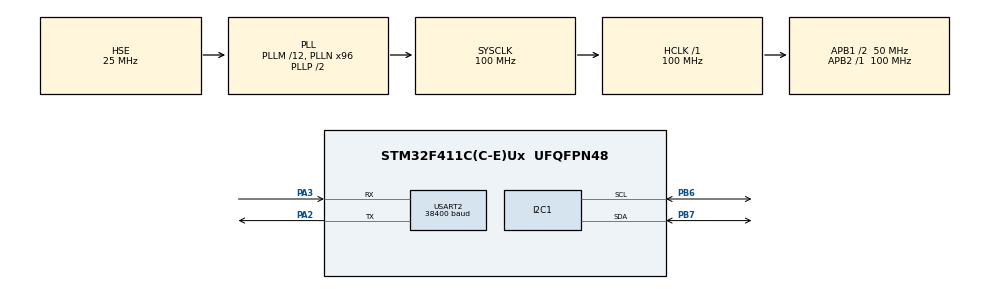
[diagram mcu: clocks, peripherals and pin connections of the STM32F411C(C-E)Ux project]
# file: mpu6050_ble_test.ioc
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I2C1.I2C_Mode=I2C_Fast
Mcu.Family=STM32F4
Mcu.Name=STM32F411C(C-E)Ux
Mcu.Package=UFQFPN48
NVIC.PriorityGroup=NVIC_PRIORITYGROUP_4
PA2.Mode=Asynchronous
PA2.Signal=USART2_TX
PA3.Mode=Asynchronous
PA3.Signal=USART2_RX
PB6.Mode=I2C
PB6.Signal=I2C1_SCL
PB7.Mode=I2C
PB7.Signal=I2C1_SDA
PH0\ -\ OSC_IN.Mode=HSE-External-Oscillator
PH0\ -\ OSC_IN.Signal=RCC_OSC_IN
PH1\ -\ OSC_OUT.Mode=HSE-External-Oscillator
PH1\ -\ OSC_OUT.Signal=RCC_OSC_OUT
ProjectManager.HeapSize=0x200
ProjectManager.StackSize=0x400
ProjectManager.TargetToolchain=STM32CubeIDE
RCC.48MHZClocksFreq_Value=50000000
RCC.AHBFreq_Value=100000000
RCC.APB1CLKDivider=RCC_HCLK_DIV2
RCC.APB1Freq_Value=50000000
RCC.APB1TimFreq_Value=100000000
RCC.APB2Freq_Value=100000000
RCC.APB2TimFreq_Value=100000000
RCC.CortexFreq_Value=100000000
RCC.HCLKFreq_Value=100000000
RCC.HSE_VALUE=25000000
RCC.HSI_VALUE=16000000
RCC.LSE_VALUE=32768
RCC.PLLM=12
RCC.PLLN=96
RCC.PLLSourceVirtual=RCC_PLLSOURCE_HSE
RCC.SYSCLKFreq_VALUE=100000000
RCC.SYSCLKSource=RCC_SYSCLKSOURCE_PLLCLK
RCC.VCOOutputFreq_Value=200000000
USART2.BaudRate=38400
USART2.VirtualMode=VM_ASYNC
board=custom

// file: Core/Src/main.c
/* USER CODE BEGIN Header */
/**
  ******************************************************************************
  * @file           : main.c
  * @brief          : Main program body
  ******************************************************************************
  * @attention
  *
  * Copyright (c) 2023 STMicroelectronics.
  * All rights reserved.
  *
  * This software is licensed under terms that can be found in the LICENSE file
  * in the root directory of this software component.
  * If no LICENSE file comes with this software, it is provided AS-IS.
  *
  ******************************************************************************
  */
/* USER CODE END Header */
#include "main.h"

/* USER CODE BEGIN Includes */
#include <stdio.h>
#include <string.h>
/* USER CODE END Includes */

/* USER CODE BEGIN PTD */
enum AFS_SEL {
	g2 = 	0x00, // +-2g
	g4 = 	0x01, // +-4g
	g8 = 	0x02, // +-8g
	g16 = 	0x03, // +-16g
};

enum FS_SEL {
	w250 = 		0x00, // +-250 deg/s
	w500 = 		0x01, // +-500 deg/s
	w1000 = 	0x02, // +-1000 deg/s
	w2000 = 	0x03, // +-2000 deg/s
};

typedef struct MPU6050_RawIMUDataSet {
	int16_t 	XOUT_na;
	int16_t  	YOUT_na;
	int16_t 	ZOUT_na;
} MPU6050_RawIMUDataSet_t;

typedef struct MPU6050_AccelDataSet {
	float 		XOUT_g;
	float 		YOUT_g;
	float		ZOUT_g;
} MPU6050_AccelDataSet_t;

typedef struct MPU6050_GyroDataSet {
	float 		XOUT_dps;
	float 		YOUT_dps;
	float		ZOUT_dps;
} MPU6050_GyroDataSet_t;
/* USER CODE END PTD */

/* USER CODE BEGIN PD */
/* Device Addresses */
#define MPU6050_ADDR1 0xD0
#define MPU6050_ADDR2 0xD2
/* Memory registers */
#define PWR_MGMT1_REG 0x6B
#define SMPRT_DIV_REG 0x19
#define GYRO_CONFIG_REG 0x1B
#define GYRO_OUT_START_REG 0x43
#define ACCEL_CONFIG_REG 0x1C
#define ACCEL_OUT_START_REG 0x3B
#define CONFIG_REG 0x1A
/* I2C Data */
#define REG_LEN 0x01
#define I2C_TIMEOUT 50
#define CLKSEL 0x00
#define SMPLRT_DIV 0x01 // Sample Rate [kHz] = 8 / (1 + SMPLRT_DIV)
#define DLPF_CFG 0x04
/* USER CODE END PD */

I2C_HandleTypeDef hi2c1;

UART_HandleTypeDef huart2;

/* USER CODE BEGIN PV */
const enum AFS_SEL accelRange = g4;
const enum FS_SEL gyroRange = w500;
/* USER CODE END PV */

void SystemClock_Config(void);
static void MX_GPIO_Init(void);
static void MX_I2C1_Init(void);
static void MX_USART2_UART_Init(void);
/* USER CODE BEGIN PFP */
void MPU6050_Init(void);

float getAccelSens(const enum AFS_SEL accelRange);
float getGyroSens(const enum FS_SEL gyroRange);
void HC05_PrintIMUData(const MPU6050_AccelDataSet_t Accel1, const MPU6050_AccelDataSet_t Accel2, const MPU6050_GyroDataSet_t Gyro1, const MPU6050_GyroDataSet_t Gyro2);

MPU6050_AccelDataSet_t MPU6050_GetAccel(const uint8_t deviceAddr);
MPU6050_GyroDataSet_t MPU6050_GetGyro(const uint8_t deviceAddr);
MPU6050_RawIMUDataSet_t MPU6050_GetRawAccel(const uint8_t deviceAddr);
MPU6050_RawIMUDataSet_t MPU6050_GetRawGyro(const uint8_t deviceAddr);

/* USER CODE END PFP */

int main(void)
{

  /* MCU Configuration--------------------------------------------------------*/

  /* Reset of all peripherals, Initializes the Flash interface and the Systick. */
  HAL_Init();

  /* Configure the system clock */
  SystemClock_Config();

  /* Initialize all configured peripherals */
  MX_GPIO_Init();
  MX_I2C1_Init();
  MX_USART2_UART_Init();
  /* USER CODE BEGIN 2 */
  MPU6050_AccelDataSet_t Accel1;
  MPU6050_AccelDataSet_t Accel2;
  MPU6050_GyroDataSet_t Gyro1;
  MPU6050_GyroDataSet_t Gyro2;

  MPU6050_Init();
  HAL_Delay(10);

  /* USER CODE END 2 */

  /* Infinite loop */
  /* USER CODE BEGIN WHILE */
  while (1)
  {
	  Accel1 = MPU6050_GetAccel(MPU6050_ADDR1);
	  Gyro1 = MPU6050_GetGyro(MPU6050_ADDR1);

	  Accel2 = MPU6050_GetAccel(MPU6050_ADDR2);
	  Gyro2 = MPU6050_GetGyro(MPU6050_ADDR2);

	  HC05_PrintIMUData(Accel1, Accel2, Gyro1, Gyro2);
	  HAL_Delay(10);

    /* USER CODE END WHILE */

  }
}

void SystemClock_Config(void)
{
  RCC_OscInitTypeDef RCC_OscInitStruct = {0};
  RCC_ClkInitTypeDef RCC_ClkInitStruct = {0};

  /** Configure the main internal regulator output voltage
  */
  __HAL_RCC_PWR_CLK_ENABLE();
  __HAL_PWR_VOLTAGESCALING_CONFIG(PWR_REGULATOR_VOLTAGE_SCALE1);

  /** Initializes the RCC Oscillators according to the specified parameters
  * in the RCC_OscInitTypeDef structure.
  */
  RCC_OscInitStruct.OscillatorType = RCC_OSCILLATORTYPE_HSE;
  RCC_OscInitStruct.HSEState = RCC_HSE_ON;
  RCC_OscInitStruct.PLL.PLLState = RCC_PLL_ON;
  RCC_OscInitStruct.PLL.PLLSource = RCC_PLLSOURCE_HSE;
  RCC_OscInitStruct.PLL.PLLM = 12;
  RCC_OscInitStruct.PLL.PLLN = 96;
  RCC_OscInitStruct.PLL.PLLP = RCC_PLLP_DIV2;
  RCC_OscInitStruct.PLL.PLLQ = 4;
  if (HAL_RCC_OscConfig(&RCC_OscInitStruct) != HAL_OK)
  {
    Error_Handler();
  }

  /** Initializes the CPU, AHB and APB buses clocks
  */
  RCC_ClkInitStruct.ClockType = RCC_CLOCKTYPE_HCLK|RCC_CLOCKTYPE_SYSCLK
                              |RCC_CLOCKTYPE_PCLK1|RCC_CLOCKTYPE_PCLK2;
  RCC_ClkInitStruct.SYSCLKSource = RCC_SYSCLKSOURCE_PLLCLK;
  RCC_ClkInitStruct.AHBCLKDivider = RCC_SYSCLK_DIV1;
  RCC_ClkInitStruct.APB1CLKDivider = RCC_HCLK_DIV2;
  RCC_ClkInitStruct.APB2CLKDivider = RCC_HCLK_DIV1;

  if (HAL_RCC_ClockConfig(&RCC_ClkInitStruct, FLASH_LATENCY_3) != HAL_OK)
  {
    Error_Handler();
  }
}

static void MX_I2C1_Init(void)
{

  hi2c1.Instance = I2C1;
  hi2c1.Init.ClockSpeed = 400000;
  hi2c1.Init.DutyCycle = I2C_DUTYCYCLE_2;
  hi2c1.Init.OwnAddress1 = 0;
  hi2c1.Init.AddressingMode = I2C_ADDRESSINGMODE_7BIT;
  hi2c1.Init.DualAddressMode = I2C_DUALADDRESS_DISABLE;
  hi2c1.Init.OwnAddress2 = 0;
  hi2c1.Init.GeneralCallMode = I2C_GENERALCALL_DISABLE;
  hi2c1.Init.NoStretchMode = I2C_NOSTRETCH_DISABLE;
  if (HAL_I2C_Init(&hi2c1) != HAL_OK)
  {
    Error_Handler();
  }

}

static void MX_USART2_UART_Init(void)
{

  huart2.Instance = USART2;
  huart2.Init.BaudRate = 38400;
  huart2.Init.WordLength = UART_WORDLENGTH_8B;
  huart2.Init.StopBits = UART_STOPBITS_1;
  huart2.Init.Parity = UART_PARITY_NONE;
  huart2.Init.Mode = UART_MODE_TX_RX;
  huart2.Init.HwFlowCtl = UART_HWCONTROL_NONE;
  huart2.Init.OverSampling = UART_OVERSAMPLING_16;
  if (HAL_UART_Init(&huart2) != HAL_OK)
  {
    Error_Handler();
  }

}

static void MX_GPIO_Init(void)
{

  /* GPIO Ports Clock Enable */
  __HAL_RCC_GPIOH_CLK_ENABLE();
  __HAL_RCC_GPIOA_CLK_ENABLE();
  __HAL_RCC_GPIOB_CLK_ENABLE();

}

/* USER CODE BEGIN 4 */
void MPU6050_Init(void){
	uint8_t const msgLen = 30;
	uint8_t msg[30];
	uint8_t regData;
	uint8_t numReg = 1;

	/* I2C device check */
	HAL_StatusTypeDef deviceCheck1 = HAL_I2C_IsDeviceReady(&hi2c1, MPU6050_ADDR1, 1, I2C_TIMEOUT);
	HAL_StatusTypeDef deviceCheck2 = HAL_I2C_IsDeviceReady(&hi2c1, MPU6050_ADDR2, 1, I2C_TIMEOUT);

	/* Clear string */
	memset(msg, '\0', msgLen);

	/* Check status */
	if((deviceCheck1 == HAL_OK) && (deviceCheck2== HAL_OK)){
		strcpy((char*) msg, "Devices Ready\n\r");
	} else {
		strcpy((char*) msg, "Devices Not Ready\n\r");
	}

	/* Report status */
	HAL_UART_Transmit(&huart2, msg, sizeof(msg), 50);

	/* Wake IMUs */
	regData = CLKSEL;
	HAL_I2C_Mem_Write(&hi2c1, MPU6050_ADDR1, PWR_MGMT1_REG, REG_LEN, &regData, numReg, I2C_TIMEOUT);
	HAL_I2C_Mem_Write(&hi2c1, MPU6050_ADDR2, PWR_MGMT1_REG, REG_LEN, &regData, numReg, I2C_TIMEOUT);

	/* Calculate SMPLRT_DIV from desired sample rate */
	regData = SMPLRT_DIV;
	HAL_I2C_Mem_Write(&hi2c1, MPU6050_ADDR1, SMPRT_DIV_REG, REG_LEN, &regData, numReg, I2C_TIMEOUT);
	HAL_I2C_Mem_Write(&hi2c1, MPU6050_ADDR2, SMPRT_DIV_REG, REG_LEN, &regData, numReg, I2C_TIMEOUT);

	/* Set gyro config */
	regData = (uint8_t) (gyroRange << 3);
	HAL_I2C_Mem_Write(&hi2c1, MPU6050_ADDR1, GYRO_CONFIG_REG, REG_LEN, &regData, numReg, I2C_TIMEOUT);
	HAL_I2C_Mem_Write(&hi2c1, MPU6050_ADDR2, GYRO_CONFIG_REG, REG_LEN, &regData, numReg, I2C_TIMEOUT);

	/* Set accel config */
	regData = (uint8_t) (accelRange << 3);
	HAL_I2C_Mem_Write(&hi2c1, MPU6050_ADDR1, ACCEL_CONFIG_REG, REG_LEN, &regData, numReg, I2C_TIMEOUT);
	HAL_I2C_Mem_Write(&hi2c1, MPU6050_ADDR2, ACCEL_CONFIG_REG, REG_LEN, &regData, numReg, I2C_TIMEOUT);

	regData = (uint8_t) (DLPF_CFG);
	HAL_I2C_Mem_Write(&hi2c1, MPU6050_ADDR2, CONFIG_REG, REG_LEN, &regData, numReg, I2C_TIMEOUT);
}

float getAccelSens(const enum AFS_SEL accelRange){
	float sensitivity;

	/* Determine sensor sensitivity based on sensor range */
	switch (accelRange){
	case g2:
		sensitivity = 16384.0;
		break;
	case g4:
		sensitivity = 8192.0;
		break;
	case g8:
		sensitivity = 4096.0;
		break;
	case g16:
		sensitivity = 2048.0;
		break;
	default:
		sensitivity = 0; // Create error code here later
	}

	return sensitivity;
}

float getGyroSens(const enum FS_SEL gyroRange){
	float sensitivity;

	/* Determine sensor sensitivity based on sensor range */
	switch (gyroRange){
	case w250:
		sensitivity = 131.0;
		break;
	case w500:
		sensitivity = 65.5;
		break;
	case w1000:
		sensitivity = 32.8;
		break;
	case w2000:
		sensitivity = 16.4;
		break;
	default:
		sensitivity = 0; // Create error code here later
	}

	return sensitivity;
}

MPU6050_RawIMUDataSet_t MPU6050_GetRawAccel(const uint8_t deviceAddr){
	uint8_t	numReg = 6;
	uint8_t regData[numReg];
	MPU6050_RawIMUDataSet_t RawAccel;

	/* Read accel measurement registers and store in regData array */
	HAL_I2C_Mem_Read(&hi2c1, deviceAddr, ACCEL_OUT_START_REG, REG_LEN, (uint8_t*) &regData, numReg, I2C_TIMEOUT);

	/* Combine high and low bits to 16 bit integer, update struct contents*/
	RawAccel.XOUT_na = (int16_t) ((regData[0] << 8) | (regData[1]));
	RawAccel.YOUT_na = (int16_t) ((regData[2] << 8) | (regData[3]));
	RawAccel.ZOUT_na = (int16_t) ((regData[4] << 8) | (regData[5]));

	/* Return RawAccel struct*/
	return RawAccel;
}

MPU6050_RawIMUDataSet_t MPU6050_GetRawGyro(const uint8_t deviceAddr){
	uint8_t	numReg = 6;
	uint8_t regData[numReg];
	MPU6050_RawIMUDataSet_t RawGyro;

	/* Read gyro measurement registers and store in regData array */
	HAL_I2C_Mem_Read(&hi2c1, deviceAddr, GYRO_OUT_START_REG, REG_LEN, (uint8_t*) &regData, numReg, I2C_TIMEOUT);

	/* Combine high and low bits to 16 bit integer, update struct contents*/
	RawGyro.XOUT_na = (int16_t) ((regData[0] << 8) | (regData[1]));
	RawGyro.YOUT_na = (int16_t) ((regData[2] << 8) | (regData[3]));
	RawGyro.ZOUT_na = (int16_t) ((regData[4] << 8) | (regData[5]));

	/* Return RawGyro struct*/
	return RawGyro;
}

MPU6050_AccelDataSet_t MPU6050_GetAccel(const uint8_t deviceAddr){
	MPU6050_RawIMUDataSet_t RawAccel;
	MPU6050_AccelDataSet_t Accel;
	float sensitivity;

	sensitivity = getAccelSens(accelRange);
	RawAccel = MPU6050_GetRawAccel(deviceAddr);

	/* Convert bits to g's, store in Accel struct*/
	Accel.XOUT_g = RawAccel.XOUT_na / sensitivity;
	Accel.YOUT_g = RawAccel.YOUT_na / sensitivity;
	Accel.ZOUT_g = RawAccel.ZOUT_na / sensitivity;

	/* Return Accel struct */
	return Accel;
}

MPU6050_GyroDataSet_t MPU6050_GetGyro(const uint8_t deviceAddr){
	MPU6050_RawIMUDataSet_t RawGyro;
	MPU6050_GyroDataSet_t Gyro;
	float sensitivity;

	sensitivity = getGyroSens(gyroRange);
	RawGyro = MPU6050_GetRawGyro(deviceAddr);

	/* Convert bits to deg/s, store in Gyro struct*/
	Gyro.XOUT_dps = RawGyro.XOUT_na / sensitivity;
	Gyro.YOUT_dps = RawGyro.YOUT_na / sensitivity;
	Gyro.ZOUT_dps = RawGyro.ZOUT_na / sensitivity;

	/* Return Gyro struct */
	return Gyro;
}

void HC05_PrintIMUData(const MPU6050_AccelDataSet_t Accel1, const MPU6050_AccelDataSet_t Accel2, const MPU6050_GyroDataSet_t Gyro1, const MPU6050_GyroDataSet_t Gyro2){
	uint8_t const msgLen = 140;
	uint8_t msg[msgLen];

	memset(msg, '\0', msgLen);
	sprintf((char*) msg, "AX1:%.3f,AY1:%.3f,AZ1:%.3f,WX1:%.3f,WY1:%.3f,WZ1:%.3f,AX2:%.3f,AY2:%.3f,AZ2:%.3f,WX2:%.3f,WY2:%.3f,WZ2:%.3f\n\r",
			Accel1.XOUT_g, Accel1.YOUT_g, Accel1.ZOUT_g, Gyro1.XOUT_dps, Gyro1.YOUT_dps, Gyro1.ZOUT_dps,
			Accel2.XOUT_g, Accel2.YOUT_g, Accel2.ZOUT_g, Gyro2.XOUT_dps, Gyro2.YOUT_dps, Gyro2.ZOUT_dps);

	HAL_UART_Transmit(&huart2, msg, msgLen, 50);
}
/* USER CODE END 4 */

void Error_Handler(void)
{
  __disable_irq();
  while (1)
  {
  }
}
